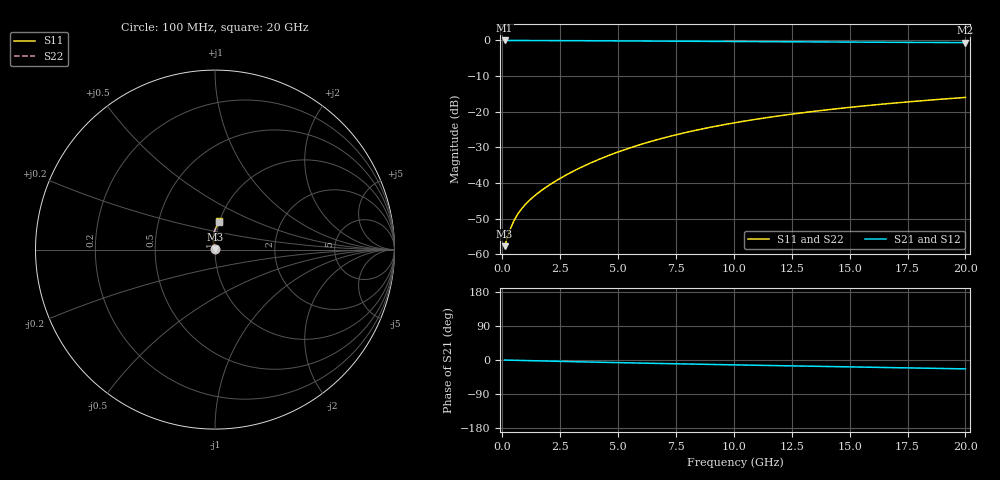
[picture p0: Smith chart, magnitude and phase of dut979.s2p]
! Touchstone file exported from HFSS 2024.1.0
!  File:  C:/UserFiles/LocalFiles/RDL_TSV_Batchsim/temp_RDL_top_979_1779939157.aedt
!  Generated:  11:34:43 AM May 28, 2026
!  Design:  RDL_top
!  Project:  temp_RDL_top_979_1779939157
!  Setup:  Setup1
!  Solution:  Sweep
! Variables:
!  dtsv = 10.80580581um
!  hbump = 3um
!  htsv = 56.14um
!  ldown = 100um
!  lrdl = 387.33um
!  p = 40
!  p1 = 44.38um
!  rhole = 1um
!  t = 450um
!  tdown = 3.915915916um
!  trdl = 4.99um
!  wdown = 15.38538539um
!  wrdl = 29.76um
# GHz S MA R 50.000000
! Terminal data exported
! Port[1] = Box2_T1
! Port[2] = Box2_T2
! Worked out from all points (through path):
!   200 points, 100 MHz to 20 GHz, reference 50 ohm
!   highest |S21| = -0.01 dB at 100 MHz (marker M1); lowest = -0.6 dB at 20 GHz (marker M2)
!   group delay of S21, straight-line fit = 3.18 ps
!   lowest |S11| = -57.7 dB at 100 MHz (marker M3), VSWR 1.00, Z = 50.1 + j0.0611 ohm
!   |S11| at or under -10 dB: start of sweep to end of sweep
!   |S22| runs from -57.7 to -16.0 dB; largest |S21 - S12| = 4.2e-15
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0.1  0.001301 27.9  0.9988 -0.2  0.9988 -0.2  0.001301 27.9
! Gamma 0 0 0 0
! Port Impedance 50 0 50 0
0.3  0.002056 57.5  0.9985 -0.5  0.9985 -0.5  0.00205 57.6
0.4  0.002495 64.0  0.9984 -0.6  0.9984 -0.6  0.002488 64.1
0.5  0.002934 68.2  0.9983 -0.8  0.9983 -0.8  0.002926 68.3
0.6  0.003367 71.0  0.9981 -0.9  0.9981 -0.9  0.003358 71.1
0.8  0.004207 74.9  0.9979 -1.2  0.9979 -1.2  0.004199 75.0
1.1  0.005425 79.1  0.9974 -1.6  0.9974 -1.6  0.00542 79.2
1.5  0.007055 83.8  0.9967 -2.2  0.9967 -2.2  0.007053 83.8
2.1  0.009686 89.6  0.9952 -3.1  0.9952 -3.1  0.009686 89.6
2.8  0.01318 94.6  0.993 -4.1  0.993 -4.1  0.01318 94.6
3.5  0.01717 98.1  0.9903 -5.0  0.9903 -5.0  0.01716 98.1
4.2  0.02163 100.3  0.9874 -6.0  0.9874 -6.0  0.02162 100.2
5  0.02725 101.6  0.984 -7.0  0.984 -7.0  0.02724 101.5
5.9  0.03412 102.0  0.9799 -8.1  0.9799 -8.1  0.03411 102.0
6.8  0.04146 101.7  0.9759 -9.2  0.9759 -9.2  0.04144 101.6
8.4  0.05528 99.9  0.9691 -11.0  0.9691 -11.0  0.05525 99.9
10.1  0.07058 97.4  0.9625 -12.9  0.9625 -12.9  0.07054 97.3
11.7  0.08519 94.7  0.9567 -14.7  0.9567 -14.7  0.08513 94.6
13.4  0.1007 91.7  0.9511 -16.5  0.9511 -16.5  0.1006 91.7
15  0.1151 89.0  0.9461 -18.2  0.9461 -18.2  0.115 89.0
16.7  0.1302 86.2  0.9411 -20.0  0.9411 -20.0  0.1301 86.1
20  0.1586 81.0  0.9319 -23.4  0.9319 -23.4  0.1585 81.0
